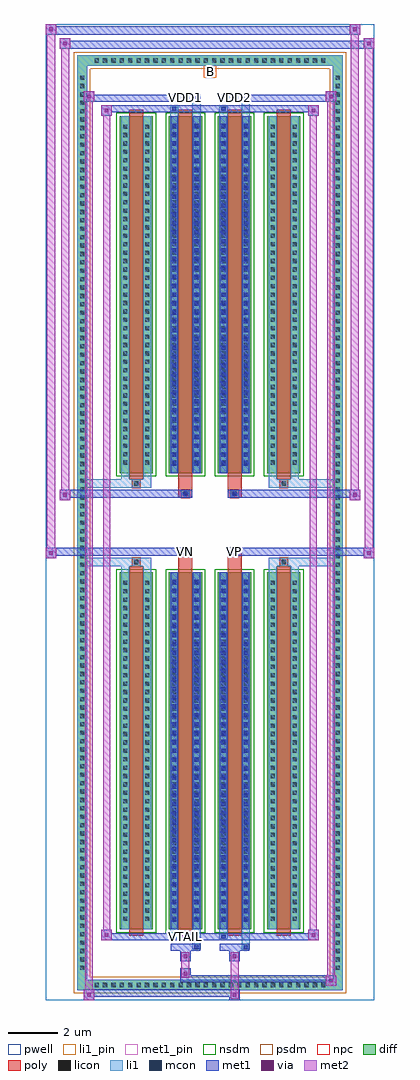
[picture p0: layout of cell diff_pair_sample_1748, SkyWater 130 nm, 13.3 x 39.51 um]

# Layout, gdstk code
import gdstk
lib = gdstk.Library(unit=1e-6, precision=5e-09)
def R(c, l, rs):  # rectangles x0, y0, x1, y1
    for r in rs: c.add(gdstk.rectangle(r[:2], r[2:], *l))
def A(c, l, x, y, w, h, nx, ny, dx, dy):  # array of equal rectangles
    R(c, l, [(x+i*dx, y+j*dy, x+i*dx+w, y+j*dy+h) for i in range(nx) for j in range(ny)])
def P(c, l, *ps):  # polygons
    for p in ps: c.add(gdstk.Polygon(p, *l))
pwell = (64, 44)
diff = (65, 20)
poly = (66, 20)
licon = (66, 44)
li1_pin = (67, 16)
li1 = (67, 20)
mcon = (67, 44)
met1_pin = (68, 16)
met1 = (68, 20)
via = (68, 44)
met2 = (69, 20)
nsdm = (93, 44)
psdm = (94, 20)
npc = (95, 20)

diff_pair_sample_1748 = lib.new_cell('diff_pair_sample_1748')
R(diff_pair_sample_1748, pwell, [(-6.65,-19.32,6.65,20.19), (-3.97,-17.51,-0.01,-0.815), (0.01,-17.51,3.97,-0.815), (-3.97,0.815,-0.01,17.51), (0.01,0.815,3.97,17.51)])
A(diff_pair_sample_1748, diff, -4.795, -18.92, 0.41, 0.41, 28, 2, 0.34, 37.43)
A(diff_pair_sample_1748, diff, -5.38, -18.225, 0.41, 0.41, 1, 107, 0, 0.34)
A(diff_pair_sample_1748, diff, 4.97, -18.225, 0.41, 0.41, 1, 107, 0, 0.34)
A(diff_pair_sample_1748, diff, -3.66, -16.465, 1.35, 14.46, 4, 2, 1.99, 18.47)
R(diff_pair_sample_1748, diff, [(-4.795,-18.92,4.795,-18.51), (-5.38,-18.225,-4.97,18.225), (4.97,-18.225,5.38,18.225), (-4.795,18.51,4.795,18.92)])
P(diff_pair_sample_1748, diff, [(5.38,18.92),(-5.38,18.92),(-5.38,-18.51),(-4.97,-18.51),(-4.97,18.51),(4.97,18.51),(4.97,-18.51),(-4.97,-18.51),(-5.38,-18.51),(-5.38,-18.92),(5.38,-18.92)])
A(diff_pair_sample_1748, poly, -3.27, -16.715, 0.57, 14.96, 4, 2, 1.99, 18.47)
R(diff_pair_sample_1748, poly, [(-3.15,-1.755,-2.82,-1.425), (-3.15,-1.755,-2.82,-1.425), (-1.28,-1.755,-0.71,-1.345), (0.71,-1.755,1.28,-1.345), (2.82,-1.755,3.15,-1.425), (2.82,-1.755,3.15,-1.425), (-1.28,-1.345,-0.71,-1.015), (-1.16,-1.345,-0.83,-1.015), (0.71,-1.345,1.28,-1.015), (0.83,-1.345,1.16,-1.015), (-1.28,1.015,-0.71,1.345), (-1.16,1.015,-0.83,1.345), (0.71,1.015,1.28,1.345), (0.83,1.015,1.16,1.345), (-1.28,1.345,-0.71,1.755), (0.71,1.345,1.28,1.755), (-3.15,1.425,-2.82,1.755), (-3.15,1.425,-2.82,1.755), (2.82,1.425,3.15,1.755), (2.82,1.425,3.15,1.755)])
A(diff_pair_sample_1748, licon, -4.675, -18.8, 0.17, 0.17, 28, 2, 0.34, 37.43)
A(diff_pair_sample_1748, licon, -5.26, -18.105, 0.17, 0.17, 1, 107, 0, 0.34)
A(diff_pair_sample_1748, licon, 5.09, -18.105, 0.17, 0.17, 1, 107, 0, 0.34)
A(diff_pair_sample_1748, licon, -3.52, -16.12, 0.17, 0.17, 1, 41, 0, 0.34)
A(diff_pair_sample_1748, licon, -2.62, -16.12, 0.17, 0.17, 1, 41, 0, 0.34)
A(diff_pair_sample_1748, licon, -1.53, -16.12, 0.17, 0.17, 1, 41, 0, 0.34)
A(diff_pair_sample_1748, licon, -0.63, -16.12, 0.17, 0.17, 1, 41, 0, 0.34)
A(diff_pair_sample_1748, licon, 0.46, -16.12, 0.17, 0.17, 1, 41, 0, 0.34)
A(diff_pair_sample_1748, licon, 1.36, -16.12, 0.17, 0.17, 1, 41, 0, 0.34)
A(diff_pair_sample_1748, licon, 2.45, -16.12, 0.17, 0.17, 1, 41, 0, 0.34)
A(diff_pair_sample_1748, licon, 3.35, -16.12, 0.17, 0.17, 1, 41, 0, 0.34)
A(diff_pair_sample_1748, licon, -3.52, 2.35, 0.17, 0.17, 1, 41, 0, 0.34)
A(diff_pair_sample_1748, licon, -2.62, 2.35, 0.17, 0.17, 1, 41, 0, 0.34)
A(diff_pair_sample_1748, licon, -1.53, 2.35, 0.17, 0.17, 1, 41, 0, 0.34)
A(diff_pair_sample_1748, licon, -0.63, 2.35, 0.17, 0.17, 1, 41, 0, 0.34)
A(diff_pair_sample_1748, licon, 0.46, 2.35, 0.17, 0.17, 1, 41, 0, 0.34)
A(diff_pair_sample_1748, licon, 1.36, 2.35, 0.17, 0.17, 1, 41, 0, 0.34)
A(diff_pair_sample_1748, licon, 2.45, 2.35, 0.17, 0.17, 1, 41, 0, 0.34)
A(diff_pair_sample_1748, licon, 3.35, 2.35, 0.17, 0.17, 1, 41, 0, 0.34)
R(diff_pair_sample_1748, licon, [(-3.07,-1.675,-2.9,-1.505), (2.9,-1.675,3.07,-1.505), (-1.08,-1.265,-0.91,-1.095), (0.91,-1.265,1.08,-1.095), (-1.08,1.095,-0.91,1.265), (0.91,1.095,1.08,1.265), (-3.07,1.505,-2.9,1.675), (2.9,1.505,3.07,1.675)])
R(diff_pair_sample_1748, li1_pin, [(-0.25,18.01,0.25,18.51)])
A(diff_pair_sample_1748, li1, -4.755, -18.88, 0.33, 0.33, 28, 2, 0.34, 37.43)
A(diff_pair_sample_1748, li1, -5.34, -18.185, 0.33, 0.33, 1, 107, 0, 0.34)
A(diff_pair_sample_1748, li1, 5.01, -18.185, 0.33, 0.33, 1, 107, 0, 0.34)
A(diff_pair_sample_1748, li1, -3.6, -16.2, 0.33, 0.33, 1, 41, 0, 0.34)
A(diff_pair_sample_1748, li1, -2.7, -16.2, 0.33, 0.33, 1, 41, 0, 0.34)
A(diff_pair_sample_1748, li1, -1.61, -16.2, 0.33, 0.33, 1, 41, 0, 0.34)
A(diff_pair_sample_1748, li1, -0.71, -16.2, 0.33, 0.33, 1, 41, 0, 0.34)
A(diff_pair_sample_1748, li1, 0.38, -16.2, 0.33, 0.33, 1, 41, 0, 0.34)
A(diff_pair_sample_1748, li1, 1.28, -16.2, 0.33, 0.33, 1, 41, 0, 0.34)
A(diff_pair_sample_1748, li1, 2.37, -16.2, 0.33, 0.33, 1, 41, 0, 0.34)
A(diff_pair_sample_1748, li1, 3.27, -16.2, 0.33, 0.33, 1, 41, 0, 0.34)
A(diff_pair_sample_1748, li1, -1.53, -16.16, 0.17, 0.17, 1, 39, 0, 0.36)
A(diff_pair_sample_1748, li1, -0.63, -16.16, 0.17, 0.17, 1, 39, 0, 0.36)
A(diff_pair_sample_1748, li1, 0.46, -16.16, 0.17, 0.17, 1, 39, 0, 0.36)
A(diff_pair_sample_1748, li1, 1.36, -16.16, 0.17, 0.17, 1, 39, 0, 0.36)
A(diff_pair_sample_1748, li1, -3.6, 2.27, 0.33, 0.33, 1, 41, 0, 0.34)
A(diff_pair_sample_1748, li1, -2.7, 2.27, 0.33, 0.33, 1, 41, 0, 0.34)
A(diff_pair_sample_1748, li1, -1.61, 2.27, 0.33, 0.33, 1, 41, 0, 0.34)
A(diff_pair_sample_1748, li1, -0.71, 2.27, 0.33, 0.33, 1, 41, 0, 0.34)
A(diff_pair_sample_1748, li1, 0.38, 2.27, 0.33, 0.33, 1, 41, 0, 0.34)
A(diff_pair_sample_1748, li1, 1.28, 2.27, 0.33, 0.33, 1, 41, 0, 0.34)
A(diff_pair_sample_1748, li1, 2.37, 2.27, 0.33, 0.33, 1, 41, 0, 0.34)
A(diff_pair_sample_1748, li1, 3.27, 2.27, 0.33, 0.33, 1, 41, 0, 0.34)
A(diff_pair_sample_1748, li1, -1.53, 2.31, 0.17, 0.17, 1, 39, 0, 0.36)
A(diff_pair_sample_1748, li1, -0.63, 2.31, 0.17, 0.17, 1, 39, 0, 0.36)
A(diff_pair_sample_1748, li1, 0.46, 2.31, 0.17, 0.17, 1, 39, 0, 0.36)
A(diff_pair_sample_1748, li1, 1.36, 2.31, 0.17, 0.17, 1, 39, 0, 0.36)
R(diff_pair_sample_1748, li1, [(-5.38,-18.92,-4.97,-18.51), (-5.38,-18.92,-4.97,-18.51), (-4.97,-18.92,4.97,-18.51), (4.97,-18.92,5.38,-18.51), (4.97,-18.92,5.38,-18.51), (-5.38,-18.51,-4.97,18.51), (4.97,-18.51,5.38,18.51), (-0.71,-17.27,-0.38,-16.465), (-0.63,-17.27,-0.46,-17.1), (1.28,-17.27,1.61,-16.465), (1.36,-17.27,1.53,-17.1), (-1.61,-16.84,-1.28,-16.465), (-1.53,-16.84,-1.36,-16.67), (0.38,-16.84,0.71,-16.465), (0.46,-16.84,0.63,-16.67), (-3.6,-16.465,-3.27,-2.005), (-2.7,-16.465,-2.37,-2.005), (-1.61,-16.465,-1.28,-2.005), (-0.71,-16.465,-0.38,-2.005), (0.38,-16.465,0.71,-2.005), (1.28,-16.465,1.61,-2.005), (2.37,-16.465,2.7,-2.005), (3.27,-16.465,3.6,-2.005), (-1.53,-16.16,-1.36,-2.31), (-0.63,-16.16,-0.46,-2.31), (0.46,-16.16,0.63,-2.31), (1.36,-16.16,1.53,-2.31), (-3.6,-2.005,-3.27,-1.425), (-2.7,-2.005,-2.37,-1.425), (2.37,-2.005,2.7,-1.425), (3.27,-2.005,3.6,-1.425), (-5.38,-1.755,-3.15,-1.425), (-3.6,-1.755,-3.15,-1.425), (-3.15,-1.755,-2.82,-1.425), (-2.82,-1.755,-2.37,-1.425), (2.37,-1.755,2.82,-1.425), (2.82,-1.755,3.15,-1.425), (2.82,-1.755,5.38,-1.425), (3.15,-1.755,3.6,-1.425), (-1.16,-1.345,-0.83,-1.015), (0.83,-1.345,1.16,-1.015), (-1.16,1.015,-0.83,1.345), (0.83,1.015,1.16,1.345), (-5.38,1.425,-3.15,1.755), (-3.6,1.425,-3.15,1.755), (-3.6,1.425,-3.27,2.005), (-3.15,1.425,-2.82,1.755), (-2.82,1.425,-2.37,1.755), (-2.7,1.425,-2.37,2.005), (2.37,1.425,2.82,1.755), (2.37,1.425,2.7,2.005), (2.82,1.425,3.15,1.755), (2.82,1.425,5.38,1.755), (3.15,1.425,3.6,1.755), (3.27,1.425,3.6,2.005), (-3.6,2.005,-3.27,16.465), (-2.7,2.005,-2.37,16.465), (-1.61,2.005,-1.28,16.465), (-0.71,2.005,-0.38,16.465), (0.38,2.005,0.71,16.465), (1.28,2.005,1.61,16.465), (2.37,2.005,2.7,16.465), (3.27,2.005,3.6,16.465), (-1.53,2.31,-1.36,16.16), (-0.63,2.31,-0.46,16.16), (0.46,2.31,0.63,16.16), (1.36,2.31,1.53,16.16), (-1.61,16.465,-1.28,16.84), (-0.71,16.465,-0.38,17.27), (0.38,16.465,0.71,16.84), (1.28,16.465,1.61,17.27), (-1.53,16.67,-1.36,16.84), (0.46,16.67,0.63,16.84), (-0.63,17.1,-0.46,17.27), (1.36,17.1,1.53,17.27), (-5.38,18.51,-4.97,18.92), (-5.38,18.51,-4.97,18.92), (-4.97,18.51,4.97,18.92), (4.97,18.51,5.38,18.92), (4.97,18.51,5.38,18.92)])
A(diff_pair_sample_1748, mcon, -1.53, -16.16, 0.17, 0.17, 1, 39, 0, 0.36)
A(diff_pair_sample_1748, mcon, -0.63, -16.16, 0.17, 0.17, 1, 39, 0, 0.36)
A(diff_pair_sample_1748, mcon, 0.46, -16.16, 0.17, 0.17, 1, 39, 0, 0.36)
A(diff_pair_sample_1748, mcon, 1.36, -16.16, 0.17, 0.17, 1, 39, 0, 0.36)
A(diff_pair_sample_1748, mcon, -1.53, 2.31, 0.17, 0.17, 1, 39, 0, 0.36)
A(diff_pair_sample_1748, mcon, -0.63, 2.31, 0.17, 0.17, 1, 39, 0, 0.36)
A(diff_pair_sample_1748, mcon, 0.46, 2.31, 0.17, 0.17, 1, 39, 0, 0.36)
A(diff_pair_sample_1748, mcon, 1.36, 2.31, 0.17, 0.17, 1, 39, 0, 0.36)
R(diff_pair_sample_1748, mcon, [(-0.63,-17.27,-0.46,-17.1), (1.36,-17.27,1.53,-17.1), (-1.53,-16.84,-1.36,-16.67), (0.46,-16.84,0.63,-16.67), (-1.08,-1.265,-0.91,-1.095), (0.91,-1.265,1.08,-1.095), (-1.08,1.095,-0.91,1.265), (0.91,1.095,1.08,1.265), (-1.53,16.67,-1.36,16.84), (0.46,16.67,0.63,16.84), (-0.63,17.1,-0.46,17.27), (1.36,17.1,1.53,17.27)])
R(diff_pair_sample_1748, met1_pin, [(-1.13,-16.88,-0.86,-16.61), (-1.13,-1.285,-0.86,-1.015), (0.86,-1.285,1.13,-1.015), (-1.13,17.06,-0.86,17.33), (0.86,17.06,1.13,17.33)])
A(diff_pair_sample_1748, met1, -1.59, -16.22, 0.29, 0.29, 1, 39, 0, 0.36)
A(diff_pair_sample_1748, met1, -0.69, -16.22, 0.29, 0.29, 1, 39, 0, 0.36)
A(diff_pair_sample_1748, met1, 0.4, -16.22, 0.29, 0.29, 1, 39, 0, 0.36)
A(diff_pair_sample_1748, met1, 1.3, -16.22, 0.29, 0.29, 1, 39, 0, 0.36)
A(diff_pair_sample_1748, met1, -1.59, 2.25, 0.29, 0.29, 1, 39, 0, 0.36)
A(diff_pair_sample_1748, met1, -0.69, 2.25, 0.29, 0.29, 1, 39, 0, 0.36)
A(diff_pair_sample_1748, met1, 0.4, 2.25, 0.29, 0.29, 1, 39, 0, 0.36)
A(diff_pair_sample_1748, met1, 1.3, 2.25, 0.29, 0.29, 1, 39, 0, 0.36)
R(diff_pair_sample_1748, met1, [(-5.11,-19.32,-4.68,-18.89), (0.78,-19.32,1.21,-18.89), (-5.11,-19.18,1.21,-18.89), (4.68,-18.75,5.11,-18.32), (-1.21,-18.61,5.11,-18.32), (-1.21,-18.47,-0.78,-18.04), (-1.21,-17.76,-0.78,-17.33), (0.78,-17.76,1.21,-17.33), (-1.59,-17.33,-0.4,-17.04), (-0.69,-17.33,-0.4,-17.04), (0.4,-17.33,1.59,-17.04), (1.3,-17.33,1.59,-17.04), (-4.4,-16.9,-3.97,-16.47), (-4.4,-16.9,-1.59,-16.61), (-1.59,-16.9,-1.3,-16.61), (-1.59,-16.9,-0.4,-16.61), (-0.4,-16.9,0.4,-16.61), (0.4,-16.9,0.69,-16.61), (0.4,-16.9,1.59,-16.61), (1.59,-16.9,4.4,-16.61), (3.97,-16.9,4.4,-16.47), (-1.59,-16.465,-1.3,-2.005), (-0.69,-16.465,-0.4,-2.005), (0.4,-16.465,0.69,-2.005), (1.3,-16.465,1.59,-2.005), (-6.65,-1.445,-6.22,-1.015), (6.22,-1.445,6.65,-1.015), (-6.65,-1.345,-0.71,-1.015), (-1.28,-1.345,-0.71,-1.015), (0.71,-1.345,1.28,-1.015), (0.71,-1.345,6.65,-1.015), (-1.14,-1.325,-0.85,-1.035), (0.85,-1.325,1.14,-1.035), (-6.08,0.915,-5.65,1.345), (5.65,0.915,6.08,1.345), (-6.08,1.015,-1.28,1.345), (-1.28,1.015,-0.71,1.345), (0.71,1.015,1.28,1.345), (1.28,1.015,6.08,1.345), (-1.14,1.035,-0.85,1.325), (0.85,1.035,1.14,1.325), (-1.59,2.005,-1.3,16.465), (-0.69,2.005,-0.4,16.465), (0.4,2.005,0.69,16.465), (1.3,2.005,1.59,16.465), (-4.4,16.47,-3.97,16.9), (3.97,16.47,4.4,16.9), (-4.4,16.61,-1.59,16.9), (-1.59,16.61,-1.3,16.9), (-1.59,16.61,-0.4,16.9), (-0.4,16.61,0.4,16.9), (0.4,16.61,0.69,16.9), (0.4,16.61,1.59,16.9), (1.59,16.61,4.4,16.9), (-5.11,17.04,-4.68,17.47), (-5.11,17.04,-1.59,17.33), (-1.59,17.04,-0.4,17.33), (-0.69,17.04,-0.4,17.33), (0.4,17.04,1.59,17.33), (1.3,17.04,1.59,17.33), (1.59,17.04,5.11,17.33), (4.68,17.04,5.11,17.47), (-6.08,19.19,-5.65,19.62), (-6.08,19.19,-3.97,19.52), (-3.97,19.19,3.97,19.52), (3.97,19.19,6.65,19.52), (6.22,19.19,6.65,19.62), (-6.65,19.76,-6.22,20.19), (-6.65,19.76,-3.97,20.09), (-3.97,19.76,3.97,20.09), (3.97,19.76,6.08,20.09), (5.65,19.76,6.08,20.19)])
R(diff_pair_sample_1748, via, [(-4.97,-19.18,-4.82,-19.03), (0.92,-19.18,1.07,-19.03), (4.82,-18.61,4.97,-18.46), (-1.07,-18.33,-0.92,-18.18), (-1.07,-17.62,-0.92,-17.47), (0.92,-17.62,1.07,-17.47), (-4.26,-16.76,-4.11,-16.61), (4.11,-16.76,4.26,-16.61), (-6.51,-1.305,-6.36,-1.155), (6.36,-1.305,6.51,-1.155), (-5.94,1.055,-5.79,1.205), (5.79,1.055,5.94,1.205), (-4.26,16.61,-4.11,16.76), (4.11,16.61,4.26,16.76), (-4.97,17.18,-4.82,17.33), (4.82,17.18,4.97,17.33), (-5.94,19.33,-5.79,19.48), (6.36,19.33,6.51,19.48), (-6.51,19.9,-6.36,20.05), (5.79,19.9,5.94,20.05)])
R(diff_pair_sample_1748, met2, [(-5.11,-19.32,-4.68,-18.89), (-5.04,-19.32,-4.75,17.47), (-4.75,-19.32,-4.68,-18.89), (-5.06,-19.27,-4.73,-18.94), (0.83,-19.27,1.16,-18.94), (0.83,-18.94,1.16,-17.71), (4.68,-18.75,5.11,-18.32), (4.75,-18.75,5.04,17.47), (5.04,-18.75,5.11,-18.32), (4.73,-18.7,5.06,-18.37), (-1.16,-18.42,-0.83,-18.09), (-1.16,-18.09,-0.83,-17.71), (-1.16,-17.71,-0.83,-17.38), (0.83,-17.71,1.16,-17.38), (-4.4,-16.9,-3.97,-16.47), (-4.33,-16.9,-4.04,16.9), (-4.04,-16.9,-3.97,-16.47), (3.97,-16.9,4.4,-16.47), (4.04,-16.9,4.33,16.9), (4.33,-16.9,4.4,-16.47), (-4.35,-16.85,-4.02,-16.52), (4.02,-16.85,4.35,-16.52), (-6.65,-1.445,-6.22,-1.015), (-6.6,-1.445,-6.27,20.19), (-6.27,-1.445,-6.22,-1.015), (6.22,-1.445,6.65,-1.015), (6.27,-1.445,6.6,19.62), (6.6,-1.445,6.65,-1.015), (-6.6,-1.395,-6.27,-1.065), (6.27,-1.395,6.6,-1.065), (-6.08,0.915,-5.65,1.345), (-6.03,0.915,-5.7,19.62), (-5.7,0.915,-5.65,1.345), (5.65,0.915,6.08,1.345), (5.7,0.915,6.03,20.19), (6.03,0.915,6.08,1.345), (-6.03,0.965,-5.7,1.295), (5.7,0.965,6.03,1.295), (-4.4,16.47,-3.97,16.9), (-4.04,16.47,-3.97,16.9), (3.97,16.47,4.4,16.9), (4.33,16.47,4.4,16.9), (-4.35,16.52,-4.02,16.85), (4.02,16.52,4.35,16.85), (-5.11,17.04,-4.68,17.47), (-4.75,17.04,-4.68,17.47), (4.68,17.04,5.11,17.47), (5.04,17.04,5.11,17.47), (-5.06,17.09,-4.73,17.42), (4.73,17.09,5.06,17.42), (-6.08,19.19,-5.65,19.62), (-5.7,19.19,-5.65,19.62), (6.22,19.19,6.65,19.62), (6.6,19.19,6.65,19.62), (-6.03,19.24,-5.7,19.57), (6.27,19.24,6.6,19.57), (-6.65,19.76,-6.22,20.19), (-6.27,19.76,-6.22,20.19), (5.65,19.76,6.08,20.19), (6.03,19.76,6.08,20.19), (-6.6,19.81,-6.27,20.14), (5.7,19.81,6.03,20.14)])
A(diff_pair_sample_1748, nsdm, -3.79, -16.595, 1.61, 14.72, 4, 2, 1.99, 18.47)
P(diff_pair_sample_1748, psdm, [(5.51,19.05),(-5.51,19.05),(-5.51,-18.38),(-4.84,-18.38),(-4.84,18.38),(4.84,18.38),(4.84,-18.38),(-4.84,-18.38),(-5.51,-18.38),(-5.51,-19.05),(5.51,-19.05)])
R(diff_pair_sample_1748, npc, [(-3.17,-1.775,-2.8,-1.405), (2.8,-1.775,3.17,-1.405), (-1.18,-1.365,-0.81,-0.995), (0.81,-1.365,1.18,-0.995), (-1.18,0.995,-0.81,1.365), (0.81,0.995,1.18,1.365), (-3.17,1.405,-2.8,1.775), (2.8,1.405,3.17,1.775)])
diff_pair_sample_1748.add(gdstk.Label('VTAIL', (-0.995,-16.745), layer=68, texttype=5))
diff_pair_sample_1748.add(gdstk.Label('VN', (-0.995,-1.15), layer=68, texttype=5))
diff_pair_sample_1748.add(gdstk.Label('VP', (0.995,-1.15), layer=68, texttype=5))
diff_pair_sample_1748.add(gdstk.Label('B', (0,18.26), layer=67, texttype=5))
diff_pair_sample_1748.add(gdstk.Label('VDD2', (0.995,17.195), layer=68, texttype=5))
diff_pair_sample_1748.add(gdstk.Label('VDD1', (-0.995,17.195), layer=68, texttype=5))

lib.write_gds('diff_pair_sample_1748.gds')
